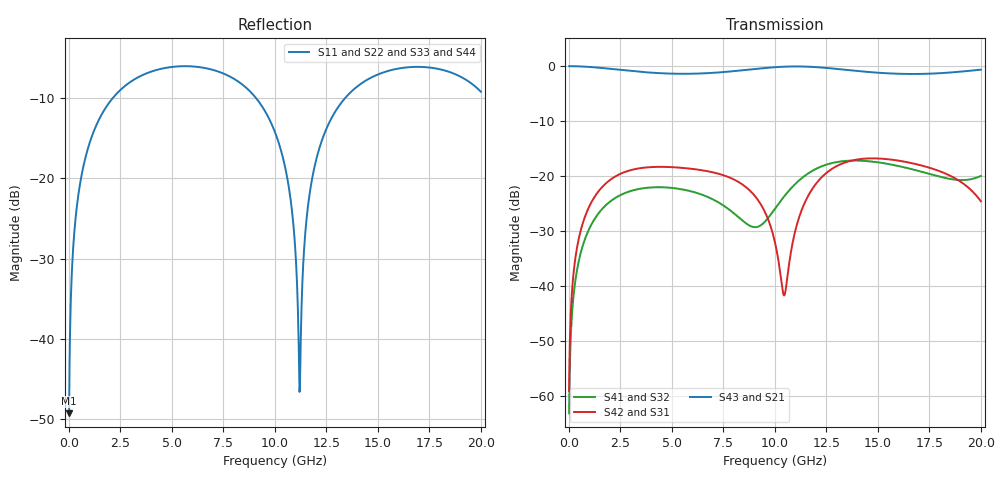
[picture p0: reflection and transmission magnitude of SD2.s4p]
! Touchstone file exported from Circuit Design 2026.1.0
!  File:  local/demo-project/Project1.aedt
!  Generated:  05:05:29 PM Apr 21, 2026
!  Design:  Circuit2
!  Project:  Project1
!  Setup:  LinearFrequency
!  Solution:  LinearFrequency
# GHz S MA R 50.000000
! Terminal data exported
! Port[1] = Port1
! Port[2] = Port2
! Port[3] = Port3
! Port[4] = Port4
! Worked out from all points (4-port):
!   1000 points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, 20 MHz to 20 GHz, reference 50 ohm
!   strongest paths, dB at 20 MHz, 5.02 GHz, 10.02 GHz, 15.02 GHz, 20 GHz:
!     S43: 0.0, -1.4, -0.2, -1.2, -0.6
!     S21: 0.0, -1.4, -0.2, -1.2, -0.6
!     S42: -59.0, -18.4, -32.2, -16.8, -24.5
!     S31: -59.0, -18.4, -32.2, -16.8, -24.5
!     S41: -63.1, -22.1, -25.8, -17.5, -19.9
!     S32: -63.1, -22.1, -25.8, -17.5, -19.9
!   lowest |S11| = -49.3 dB at 20 MHz (marker M1), VSWR 1.01, Z = 50 + j0.342 ohm
!   |S11| at or under -10 dB: start of sweep to 2.125 GHz; 9.101 GHz to 13.4 GHz (4.297 GHz wide, 38.2 % of centre)
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0.02  0.00342 88.0  0.9999 -0.4  0.001125 89.5  0.0007023 -90.7
      0.9999 -0.4  0.00342 88.0  0.0007023 -90.7  0.001125 89.5
      0.001125 89.5  0.0007023 -90.7  0.00342 88.0  0.9999 -0.4
      0.0007023 -90.7  0.001125 89.5  0.9999 -0.4  0.00342 88.0
0.9  0.1489 72.5  0.9868 -16.8  0.04845 67.9  0.03037 -120.7
     0.9868 -16.8  0.1489 72.5  0.03037 -120.7  0.04845 67.9
     0.04845 67.9  0.03037 -120.7  0.1489 72.5  0.9868 -16.8
     0.03037 -120.7  0.04845 67.9  0.9868 -16.8  0.1489 72.5
4  0.4647 22.1  0.873 -66.9  0.1211 10.8  0.07913 150.2
   0.873 -66.9  0.4647 22.1  0.07913 150.2  0.1211 10.8
   0.1211 10.8  0.07913 150.2  0.4647 22.1  0.873 -66.9
   0.07913 150.2  0.1211 10.8  0.873 -66.9  0.4647 22.1
9.38  0.2822 -55.7  0.9565 -145.3  0.05317 -65.9  0.03653 99.8
      0.9565 -145.3  0.2822 -55.7  0.03653 99.8  0.05317 -65.9
      0.05317 -65.9  0.03653 99.8  0.2822 -55.7  0.9565 -145.3
      0.03653 99.8  0.05317 -65.9  0.9565 -145.3  0.2822 -55.7
11.08  0.02183 -76.7  0.9944 -176.3  0.03675 96.5  0.08817 94.2
       0.9944 -176.3  0.02183 -76.7  0.08817 94.2  0.03675 96.5
       0.03675 96.5  0.08817 94.2  0.02183 -76.7  0.9944 -176.3
       0.08817 94.2  0.03675 96.5  0.9944 -176.3  0.02183 -76.7
13.48  0.3249 47.5  0.9249 141.2  0.1347 30.9  0.138 32.0
       0.9249 141.2  0.3249 47.5  0.138 32.0  0.1347 30.9
       0.1347 30.9  0.138 32.0  0.3249 47.5  0.9249 141.2
       0.138 32.0  0.1347 30.9  0.9249 141.2  0.3249 47.5
20  0.348 -44.9  0.9292 45.9  0.05926 -82.8  0.1006 -54.0
    0.9292 45.9  0.348 -44.9  0.1006 -54.0  0.05926 -82.8
    0.05926 -82.8  0.1006 -54.0  0.348 -44.9  0.9292 45.9
    0.1006 -54.0  0.05926 -82.8  0.9292 45.9  0.348 -44.9
